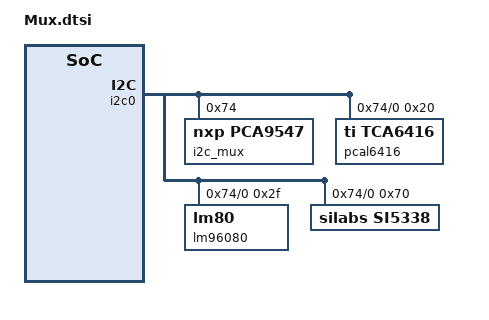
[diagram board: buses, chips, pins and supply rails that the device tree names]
&i2c0 {
	i2c_mux: i2c_mux@74 {
		compatible = "nxp,pca9547";
		reg = <0x74>;
		#address-cells = <1>;
		#size-cells = <0>;

		i2c_mux@0 {
			#address-cells = <1>;
			#size-cells = <0>;
			reg = <0>;

			pcal6416@20 {
				compatible = "ti,tca6416";
				reg = <0x20>;
			};

			lm96080@2f {
				compatible = "lm80";
				reg = <0x2f>;
			};

			si5338@70 {
				compatible = "silabs,si5338";
				reg = <0x70>;
				#address-cells = <1>;
				#size-cells = <0>;
				#clock-cells = <1>;

				clocks = <0>, <0>, <&ref24>, <0>, <0>;
				clock-names = "xtal", "in12", "in3", "in4", "in56";

				silab,ref-source = <SI5338_REF_SRC_CLKIN3>;
				silab,fb-source = <SI5338_FB_SRC_NOCLK>;
				silab,pll-source = <SI5338_PFD_IN_REF_REFCLK>;

				/* output */
				clkout0 {
					reg = <0>;
					silabs,drive-config = "3V3_LVDS";
					silabs,clock-source = <SI5338_OUT_MUX_MSN>;
					silabs,disable-state = <SI5338_OUT_DIS_HIZ>;
					clock-frequency = <125000000>;
				};
				clkout1 {
					reg = <1>;
					silabs,drive-config = "3V3_LVDS";
					silabs,clock-source = <SI5338_OUT_MUX_MSN>;
					silabs,disable-state = <SI5338_OUT_DIS_HIZ>;
					clock-frequency = <125000000>;
				};
				clkout2 {
					reg = <2>;
					silabs,drive-config = "3V3_LVDS";
					silabs,clock-source = <SI5338_OUT_MUX_MSN>;
					silabs,disable-state = <SI5338_OUT_DIS_HIZ>;
					clock-frequency = <125000000>;
				};
				clkout3 {
					reg = <3>;
					silabs,drive-config = "3V3_LVDS";
					silabs,clock-source = <SI5338_OUT_MUX_MSN>;
					silabs,disable-state = <SI5338_OUT_DIS_HIZ>;
					clock-frequency = <125000000>;
				};
			};
		};
	};
};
